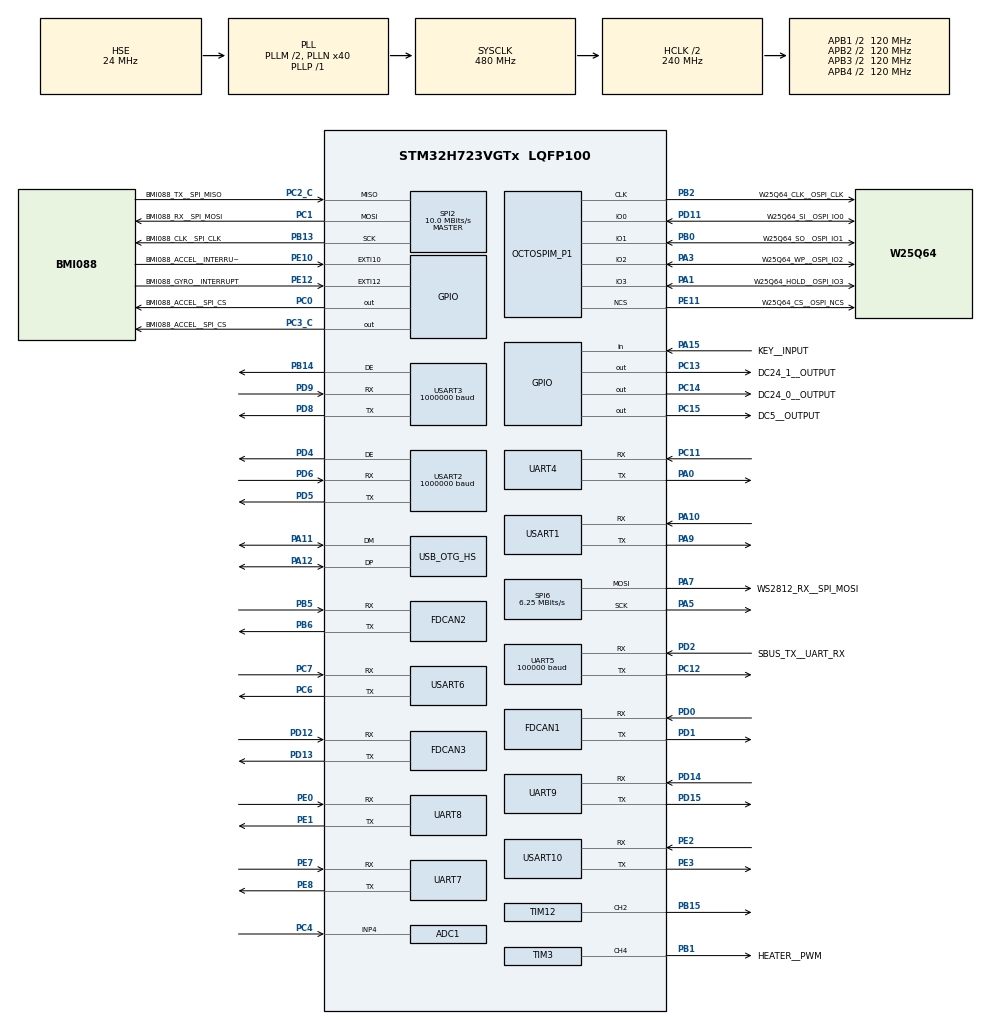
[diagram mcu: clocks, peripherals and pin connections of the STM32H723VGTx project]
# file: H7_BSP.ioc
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ADC1.Channel-0\#ChannelRegularConversion=ADC_CHANNEL_4
ADC1.ConversionDataManagement=ADC_CONVERSIONDATA_DMA_CIRCULAR
ADC1.NbrOfConversionFlag=1
ADC1.OffsetNumber-0\#ChannelRegularConversion=ADC_OFFSET_NONE
ADC1.OffsetSignedSaturation-0\#ChannelRegularConversion=DISABLE
ADC1.Rank-0\#ChannelRegularConversion=1
ADC1.SamplingTime-0\#ChannelRegularConversion=ADC_SAMPLETIME_1CYCLE_5
ADC1.master=1
CORTEX_M7.AccessPermission_Spec=MPU_REGION_FULL_ACCESS
CORTEX_M7.BaseAddress_Spec=0x24000000
CORTEX_M7.CPU_DCache=Enabled
CORTEX_M7.CPU_ICache=Enabled
CORTEX_M7.DisableExec_Spec=MPU_INSTRUCTION_ACCESS_DISABLE
CORTEX_M7.IsShareable_Spec=MPU_ACCESS_SHAREABLE
CORTEX_M7.Size_Spec=MPU_REGION_SIZE_64KB
CORTEX_M7.SubRegionDisable_Spec=0x0
CORTEX_M7.TypeExtField_Spec=MPU_TEX_LEVEL1
CORTEX_M7.default_mode_Activation=1
Dma.ADC1.11.Direction=DMA_PERIPH_TO_MEMORY
Dma.ADC1.11.EventEnable=DISABLE
Dma.ADC1.11.FIFOMode=DMA_FIFOMODE_DISABLE
Dma.ADC1.11.Instance=DMA2_Stream5
Dma.ADC1.11.MemDataAlignment=DMA_MDATAALIGN_HALFWORD
Dma.ADC1.11.MemInc=DMA_MINC_ENABLE
Dma.ADC1.11.Mode=DMA_CIRCULAR
Dma.ADC1.11.PeriphDataAlignment=DMA_PDATAALIGN_HALFWORD
Dma.ADC1.11.PeriphInc=DMA_PINC_DISABLE
Dma.ADC1.11.Polarity=HAL_DMAMUX_REQ_GEN_RISING
Dma.ADC1.11.Priority=DMA_PRIORITY_LOW
Dma.ADC1.11.RequestNumber=1
Dma.ADC1.11.SignalID=NONE
Dma.ADC1.11.SyncEnable=DISABLE
Dma.ADC1.11.SyncPolarity=HAL_DMAMUX_SYNC_NO_EVENT
Dma.ADC1.11.SyncRequestNumber=1
Dma.ADC1.11.SyncSignalID=NONE
Dma.Request0=SPI2_RX
Dma.Request1=SPI2_TX
Dma.Request10=USART10_TX
Dma.Request11=ADC1
Dma.Request12=UART8_RX
Dma.Request13=UART8_TX
Dma.Request14=UART9_RX
Dma.Request15=UART9_TX
Dma.Request2=UART5_RX
Dma.Request3=UART7_RX
Dma.Request4=UART7_TX
Dma.Request5=USART2_RX
Dma.Request6=USART2_TX
Dma.Request7=USART3_RX
Dma.Request8=USART3_TX
Dma.Request9=USART10_RX
Dma.SPI2_RX.0.Direction=DMA_PERIPH_TO_MEMORY
Dma.SPI2_RX.0.EventEnable=DISABLE
Dma.SPI2_RX.0.FIFOMode=DMA_FIFOMODE_DISABLE
Dma.SPI2_RX.0.Instance=DMA1_Stream0
Dma.SPI2_RX.0.MemDataAlignment=DMA_MDATAALIGN_BYTE
Dma.SPI2_RX.0.MemInc=DMA_MINC_ENABLE
Dma.SPI2_RX.0.Mode=DMA_NORMAL
Dma.SPI2_RX.0.PeriphDataAlignment=DMA_PDATAALIGN_BYTE
Dma.SPI2_RX.0.PeriphInc=DMA_PINC_DISABLE
Dma.SPI2_RX.0.Polarity=HAL_DMAMUX_REQ_GEN_RISING
Dma.SPI2_RX.0.Priority=DMA_PRIORITY_VERY_HIGH
Dma.SPI2_RX.0.RequestNumber=1
Dma.SPI2_RX.0.SignalID=NONE
Dma.SPI2_RX.0.SyncEnable=DISABLE
Dma.SPI2_RX.0.SyncPolarity=HAL_DMAMUX_SYNC_NO_EVENT
Dma.SPI2_RX.0.SyncRequestNumber=1
Dma.SPI2_RX.0.SyncSignalID=NONE
Dma.SPI2_TX.1.Direction=DMA_MEMORY_TO_PERIPH
Dma.SPI2_TX.1.EventEnable=DISABLE
Dma.SPI2_TX.1.FIFOMode=DMA_FIFOMODE_DISABLE
Dma.SPI2_TX.1.Instance=DMA1_Stream1
Dma.SPI2_TX.1.MemDataAlignment=DMA_MDATAALIGN_BYTE
Dma.SPI2_TX.1.MemInc=DMA_MINC_ENABLE
Dma.SPI2_TX.1.Mode=DMA_NORMAL
Dma.SPI2_TX.1.PeriphDataAlignment=DMA_PDATAALIGN_BYTE
Dma.SPI2_TX.1.PeriphInc=DMA_PINC_DISABLE
Dma.SPI2_TX.1.Polarity=HAL_DMAMUX_REQ_GEN_RISING
Dma.SPI2_TX.1.Priority=DMA_PRIORITY_MEDIUM
Dma.SPI2_TX.1.RequestNumber=1
Dma.SPI2_TX.1.SignalID=NONE
Dma.SPI2_TX.1.SyncEnable=DISABLE
Dma.SPI2_TX.1.SyncPolarity=HAL_DMAMUX_SYNC_NO_EVENT
Dma.SPI2_TX.1.SyncRequestNumber=1
Dma.SPI2_TX.1.SyncSignalID=NONE
Dma.UART5_RX.2.Direction=DMA_PERIPH_TO_MEMORY
Dma.UART5_RX.2.EventEnable=DISABLE
Dma.UART5_RX.2.FIFOMode=DMA_FIFOMODE_DISABLE
Dma.UART5_RX.2.Instance=DMA2_Stream3
Dma.UART5_RX.2.MemDataAlignment=DMA_MDATAALIGN_BYTE
Dma.UART5_RX.2.MemInc=DMA_MINC_ENABLE
Dma.UART5_RX.2.Mode=DMA_NORMAL
Dma.UART5_RX.2.PeriphDataAlignment=DMA_PDATAALIGN_BYTE
Dma.UART5_RX.2.PeriphInc=DMA_PINC_DISABLE
Dma.UART5_RX.2.Polarity=HAL_DMAMUX_REQ_GEN_RISING
Dma.UART5_RX.2.Priority=DMA_PRIORITY_VERY_HIGH
Dma.UART5_RX.2.RequestNumber=1
Dma.UART5_RX.2.SignalID=NONE
Dma.UART5_RX.2.SyncEnable=DISABLE
Dma.UART5_RX.2.SyncPolarity=HAL_DMAMUX_SYNC_NO_EVENT
Dma.UART5_RX.2.SyncRequestNumber=1
Dma.UART5_RX.2.SyncSignalID=NONE
Dma.UART7_RX.3.Direction=DMA_PERIPH_TO_MEMORY
Dma.UART7_RX.3.EventEnable=DISABLE
Dma.UART7_RX.3.FIFOMode=DMA_FIFOMODE_DISABLE
Dma.UART7_RX.3.Instance=DMA1_Stream2
Dma.UART7_RX.3.MemDataAlignment=DMA_MDATAALIGN_BYTE
Dma.UART7_RX.3.MemInc=DMA_MINC_ENABLE
Dma.UART7_RX.3.Mode=DMA_NORMAL
Dma.UART7_RX.3.PeriphDataAlignment=DMA_PDATAALIGN_BYTE
Dma.UART7_RX.3.PeriphInc=DMA_PINC_DISABLE
Dma.UART7_RX.3.Polarity=HAL_DMAMUX_REQ_GEN_RISING
Dma.UART7_RX.3.Priority=DMA_PRIORITY_MEDIUM
Dma.UART7_RX.3.RequestNumber=1
Dma.UART7_RX.3.SignalID=NONE
Dma.UART7_RX.3.SyncEnable=DISABLE
Dma.UART7_RX.3.SyncPolarity=HAL_DMAMUX_SYNC_NO_EVENT
Dma.UART7_RX.3.SyncRequestNumber=1
Dma.UART7_RX.3.SyncSignalID=NONE
Dma.UART7_TX.4.Direction=DMA_MEMORY_TO_PERIPH
Dma.UART7_TX.4.EventEnable=DISABLE
Dma.UART7_TX.4.FIFOMode=DMA_FIFOMODE_DISABLE
Dma.UART7_TX.4.Instance=DMA1_Stream3
Dma.UART7_TX.4.MemDataAlignment=DMA_MDATAALIGN_BYTE
Dma.UART7_TX.4.MemInc=DMA_MINC_ENABLE
Dma.UART7_TX.4.Mode=DMA_NORMAL
Dma.UART7_TX.4.PeriphDataAlignment=DMA_PDATAALIGN_BYTE
Dma.UART7_TX.4.PeriphInc=DMA_PINC_DISABLE
Dma.UART7_TX.4.Polarity=HAL_DMAMUX_REQ_GEN_RISING
Dma.UART7_TX.4.Priority=DMA_PRIORITY_MEDIUM
Dma.UART7_TX.4.RequestNumber=1
Dma.UART7_TX.4.SignalID=NONE
Dma.UART7_TX.4.SyncEnable=DISABLE
Dma.UART7_TX.4.SyncPolarity=HAL_DMAMUX_SYNC_NO_EVENT
Dma.UART7_TX.4.SyncRequestNumber=1
Dma.UART7_TX.4.SyncSignalID=NONE
Dma.UART8_RX.12.Direction=DMA_PERIPH_TO_MEMORY
Dma.UART8_RX.12.EventEnable=DISABLE
Dma.UART8_RX.12.FIFOMode=DMA_FIFOMODE_DISABLE
Dma.UART8_RX.12.Instance=DMA1_Stream5
Dma.UART8_RX.12.MemDataAlignment=DMA_MDATAALIGN_BYTE
Dma.UART8_RX.12.MemInc=DMA_MINC_ENABLE
Dma.UART8_RX.12.Mode=DMA_NORMAL
Dma.UART8_RX.12.PeriphDataAlignment=DMA_PDATAALIGN_BYTE
Dma.UART8_RX.12.PeriphInc=DMA_PINC_DISABLE
Dma.UART8_RX.12.Polarity=HAL_DMAMUX_REQ_GEN_RISING
Dma.UART8_RX.12.Priority=DMA_PRIORITY_LOW
Dma.UART8_RX.12.RequestNumber=1
Dma.UART8_RX.12.SignalID=NONE
Dma.UART8_RX.12.SyncEnable=DISABLE
Dma.UART8_RX.12.SyncPolarity=HAL_DMAMUX_SYNC_NO_EVENT
Dma.UART8_RX.12.SyncRequestNumber=1
Dma.UART8_RX.12.SyncSignalID=NONE
Dma.UART8_TX.13.Direction=DMA_MEMORY_TO_PERIPH
Dma.UART8_TX.13.EventEnable=DISABLE
Dma.UART8_TX.13.FIFOMode=DMA_FIFOMODE_DISABLE
Dma.UART8_TX.13.Instance=DMA1_Stream6
Dma.UART8_TX.13.MemDataAlignment=DMA_MDATAALIGN_BYTE
Dma.UART8_TX.13.MemInc=DMA_MINC_ENABLE
Dma.UART8_TX.13.Mode=DMA_NORMAL
Dma.UART8_TX.13.PeriphDataAlignment=DMA_PDATAALIGN_BYTE
Dma.UART8_TX.13.PeriphInc=DMA_PINC_DISABLE
Dma.UART8_TX.13.Polarity=HAL_DMAMUX_REQ_GEN_RISING
Dma.UART8_TX.13.Priority=DMA_PRIORITY_LOW
Dma.UART8_TX.13.RequestNumber=1
Dma.UART8_TX.13.SignalID=NONE
Dma.UART8_TX.13.SyncEnable=DISABLE
Dma.UART8_TX.13.SyncPolarity=HAL_DMAMUX_SYNC_NO_EVENT
Dma.UART8_TX.13.SyncRequestNumber=1
Dma.UART8_TX.13.SyncSignalID=NONE
Dma.UART9_RX.14.Direction=DMA_PERIPH_TO_MEMORY
Dma.UART9_RX.14.EventEnable=DISABLE
Dma.UART9_RX.14.FIFOMode=DMA_FIFOMODE_DISABLE
Dma.UART9_RX.14.Instance=DMA2_Stream6
Dma.UART9_RX.14.MemDataAlignment=DMA_MDATAALIGN_BYTE
Dma.UART9_RX.14.MemInc=DMA_MINC_ENABLE
Dma.UART9_RX.14.Mode=DMA_NORMAL
Dma.UART9_RX.14.PeriphDataAlignment=DMA_PDATAALIGN_BYTE
Dma.UART9_RX.14.PeriphInc=DMA_PINC_DISABLE
Dma.UART9_RX.14.Polarity=HAL_DMAMUX_REQ_GEN_RISING
Dma.UART9_RX.14.Priority=DMA_PRIORITY_LOW
Dma.UART9_RX.14.RequestNumber=1
Dma.UART9_RX.14.SignalID=NONE
Dma.UART9_RX.14.SyncEnable=DISABLE
Dma.UART9_RX.14.SyncPolarity=HAL_DMAMUX_SYNC_NO_EVENT
Dma.UART9_RX.14.SyncRequestNumber=1
Dma.UART9_RX.14.SyncSignalID=NONE
Dma.UART9_TX.15.Direction=DMA_MEMORY_TO_PERIPH
Dma.UART9_TX.15.EventEnable=DISABLE
Dma.UART9_TX.15.FIFOMode=DMA_FIFOMODE_DISABLE
Dma.UART9_TX.15.Instance=DMA2_Stream7
Dma.UART9_TX.15.MemDataAlignment=DMA_MDATAALIGN_BYTE
Dma.UART9_TX.15.MemInc=DMA_MINC_ENABLE
Dma.UART9_TX.15.Mode=DMA_NORMAL
Dma.UART9_TX.15.PeriphDataAlignment=DMA_PDATAALIGN_BYTE
Dma.UART9_TX.15.PeriphInc=DMA_PINC_DISABLE
Dma.UART9_TX.15.Polarity=HAL_DMAMUX_REQ_GEN_RISING
Dma.UART9_TX.15.Priority=DMA_PRIORITY_LOW
Dma.UART9_TX.15.RequestNumber=1
Dma.UART9_TX.15.SignalID=NONE
Dma.UART9_TX.15.SyncEnable=DISABLE
Dma.UART9_TX.15.SyncPolarity=HAL_DMAMUX_SYNC_NO_EVENT
Dma.UART9_TX.15.SyncRequestNumber=1
Dma.UART9_TX.15.SyncSignalID=NONE
Dma.USART10_RX.9.Direction=DMA_PERIPH_TO_MEMORY
Dma.USART10_RX.9.EventEnable=DISABLE
Dma.USART10_RX.9.FIFOMode=DMA_FIFOMODE_DISABLE
Dma.USART10_RX.9.Instance=DMA2_Stream2
Dma.USART10_RX.9.MemDataAlignment=DMA_MDATAALIGN_BYTE
Dma.USART10_RX.9.MemInc=DMA_MINC_ENABLE
Dma.USART10_RX.9.Mode=DMA_NORMAL
Dma.USART10_RX.9.PeriphDataAlignment=DMA_PDATAALIGN_BYTE
Dma.USART10_RX.9.PeriphInc=DMA_PINC_DISABLE
Dma.USART10_RX.9.Polarity=HAL_DMAMUX_REQ_GEN_RISING
Dma.USART10_RX.9.Priority=DMA_PRIORITY_VERY_HIGH
Dma.USART10_RX.9.RequestNumber=1
Dma.USART10_RX.9.SignalID=NONE
Dma.USART10_RX.9.SyncEnable=DISABLE
Dma.USART10_RX.9.SyncPolarity=HAL_DMAMUX_SYNC_NO_EVENT
Dma.USART10_RX.9.SyncRequestNumber=1
Dma.USART10_RX.9.SyncSignalID=NONE
Dma.USART10_TX.10.Direction=DMA_MEMORY_TO_PERIPH
Dma.USART10_TX.10.EventEnable=DISABLE
Dma.USART10_TX.10.FIFOMode=DMA_FIFOMODE_DISABLE
Dma.USART10_TX.10.Instance=DMA2_Stream4
Dma.USART10_TX.10.MemDataAlignment=DMA_MDATAALIGN_BYTE
Dma.USART10_TX.10.MemInc=DMA_MINC_ENABLE
Dma.USART10_TX.10.Mode=DMA_NORMAL
Dma.USART10_TX.10.PeriphDataAlignment=DMA_PDATAALIGN_BYTE
Dma.USART10_TX.10.PeriphInc=DMA_PINC_DISABLE
Dma.USART10_TX.10.Polarity=HAL_DMAMUX_REQ_GEN_RISING
Dma.USART10_TX.10.Priority=DMA_PRIORITY_VERY_HIGH
Dma.USART10_TX.10.RequestNumber=1
Dma.USART10_TX.10.SignalID=NONE
Dma.USART10_TX.10.SyncEnable=DISABLE
Dma.USART10_TX.10.SyncPolarity=HAL_DMAMUX_SYNC_NO_EVENT
Dma.USART10_TX.10.SyncRequestNumber=1
Dma.USART10_TX.10.SyncSignalID=NONE
Dma.USART2_RX.5.Direction=DMA_PERIPH_TO_MEMORY
Dma.USART2_RX.5.EventEnable=DISABLE
Dma.USART2_RX.5.FIFOMode=DMA_FIFOMODE_DISABLE
Dma.USART2_RX.5.Instance=DMA1_Stream4
Dma.USART2_RX.5.MemDataAlignment=DMA_MDATAALIGN_BYTE
Dma.USART2_RX.5.MemInc=DMA_MINC_ENABLE
Dma.USART2_RX.5.Mode=DMA_NORMAL
Dma.USART2_RX.5.PeriphDataAlignment=DMA_PDATAALIGN_BYTE
Dma.USART2_RX.5.PeriphInc=DMA_PINC_DISABLE
Dma.USART2_RX.5.Polarity=HAL_DMAMUX_REQ_GEN_RISING
Dma.USART2_RX.5.Priority=DMA_PRIORITY_MEDIUM
Dma.USART2_RX.5.RequestNumber=1
Dma.USART2_RX.5.SignalID=NONE
Dma.USART2_RX.5.SyncEnable=DISABLE
Dma.USART2_RX.5.SyncPolarity=HAL_DMAMUX_SYNC_NO_EVENT
Dma.USART2_RX.5.SyncRequestNumber=1
Dma.USART2_RX.5.SyncSignalID=NONE
Dma.USART2_TX.6.Direction=DMA_MEMORY_TO_PERIPH
Dma.USART2_TX.6.EventEnable=DISABLE
Dma.USART2_TX.6.FIFOMode=DMA_FIFOMODE_DISABLE
Dma.USART2_TX.6.Instance=DMA1_Stream7
Dma.USART2_TX.6.MemDataAlignment=DMA_MDATAALIGN_BYTE
Dma.USART2_TX.6.MemInc=DMA_MINC_ENABLE
Dma.USART2_TX.6.Mode=DMA_NORMAL
Dma.USART2_TX.6.PeriphDataAlignment=DMA_PDATAALIGN_BYTE
Dma.USART2_TX.6.PeriphInc=DMA_PINC_DISABLE
Dma.USART2_TX.6.Polarity=HAL_DMAMUX_REQ_GEN_RISING
Dma.USART2_TX.6.Priority=DMA_PRIORITY_MEDIUM
Dma.USART2_TX.6.RequestNumber=1
Dma.USART2_TX.6.SignalID=NONE
Dma.USART2_TX.6.SyncEnable=DISABLE
Dma.USART2_TX.6.SyncPolarity=HAL_DMAMUX_SYNC_NO_EVENT
Dma.USART2_TX.6.SyncRequestNumber=1
Dma.USART2_TX.6.SyncSignalID=NONE
Dma.USART3_RX.7.Direction=DMA_PERIPH_TO_MEMORY
Dma.USART3_RX.7.EventEnable=DISABLE
Dma.USART3_RX.7.FIFOMode=DMA_FIFOMODE_DISABLE
Dma.USART3_RX.7.Instance=DMA2_Stream0
Dma.USART3_RX.7.MemDataAlignment=DMA_MDATAALIGN_BYTE
Dma.USART3_RX.7.MemInc=DMA_MINC_ENABLE
Dma.USART3_RX.7.Mode=DMA_NORMAL
Dma.USART3_RX.7.PeriphDataAlignment=DMA_PDATAALIGN_BYTE
Dma.USART3_RX.7.PeriphInc=DMA_PINC_DISABLE
Dma.USART3_RX.7.Polarity=HAL_DMAMUX_REQ_GEN_RISING
Dma.USART3_RX.7.Priority=DMA_PRIORITY_MEDIUM
Dma.USART3_RX.7.RequestNumber=1
Dma.USART3_RX.7.SignalID=NONE
Dma.USART3_RX.7.SyncEnable=DISABLE
Dma.USART3_RX.7.SyncPolarity=HAL_DMAMUX_SYNC_NO_EVENT
Dma.USART3_RX.7.SyncRequestNumber=1
Dma.USART3_RX.7.SyncSignalID=NONE
Dma.USART3_TX.8.Direction=DMA_MEMORY_TO_PERIPH
Dma.USART3_TX.8.EventEnable=DISABLE
Dma.USART3_TX.8.FIFOMode=DMA_FIFOMODE_DISABLE
Dma.USART3_TX.8.Instance=DMA2_Stream1
Dma.USART3_TX.8.MemDataAlignment=DMA_MDATAALIGN_BYTE
Dma.USART3_TX.8.MemInc=DMA_MINC_ENABLE
Dma.USART3_TX.8.Mode=DMA_NORMAL
Dma.USART3_TX.8.PeriphDataAlignment=DMA_PDATAALIGN_BYTE
Dma.USART3_TX.8.PeriphInc=DMA_PINC_DISABLE
Dma.USART3_TX.8.Polarity=HAL_DMAMUX_REQ_GEN_RISING
Dma.USART3_TX.8.Priority=DMA_PRIORITY_MEDIUM
Dma.USART3_TX.8.RequestNumber=1
Dma.USART3_TX.8.SignalID=NONE
Dma.USART3_TX.8.SyncEnable=DISABLE
Dma.USART3_TX.8.SyncPolarity=HAL_DMAMUX_SYNC_NO_EVENT
Dma.USART3_TX.8.SyncRequestNumber=1
Dma.USART3_TX.8.SyncSignalID=NONE
FDCAN1.AutoRetransmission=ENABLE
FDCAN1.CalculateBaudRateNominal=1000000
FDCAN1.CalculateTimeBitNominal=1000
FDCAN1.CalculateTimeQuantumNominal=25.0
FDCAN1.DataPrescaler=3
FDCAN1.DataSyncJumpWidth=10
FDCAN1.DataTimeSeg1=29
FDCAN1.DataTimeSeg2=10
FDCAN1.NominalPrescaler=3
FDCAN1.NominalSyncJumpWidth=10
FDCAN1.NominalTimeSeg1=29
FDCAN1.NominalTimeSeg2=10
FDCAN1.ProtocolException=DISABLE
FDCAN1.RxFifo0ElmtsNbr=16
FDCAN1.StdFiltersNbr=1
FDCAN1.TxFifoQueueElmtsNbr=8
FDCAN2.AutoRetransmission=ENABLE
FDCAN2.CalculateBaudRateNominal=1000000
FDCAN2.CalculateTimeBitNominal=1000
FDCAN2.CalculateTimeQuantumNominal=25.0
FDCAN2.DataPrescaler=3
FDCAN2.DataSyncJumpWidth=10
FDCAN2.DataTimeSeg1=29
FDCAN2.DataTimeSeg2=10
FDCAN2.MessageRAMOffset=853
FDCAN2.NominalPrescaler=3
FDCAN2.NominalSyncJumpWidth=10
FDCAN2.NominalTimeSeg1=29
FDCAN2.NominalTimeSeg2=10
FDCAN2.RxFifo0ElmtsNbr=16
FDCAN2.StdFiltersNbr=1
FDCAN2.TxFifoQueueElmtsNbr=8
FDCAN3.AutoRetransmission=ENABLE
FDCAN3.CalculateBaudRateNominal=1000000
FDCAN3.CalculateTimeBitNominal=1000
FDCAN3.CalculateTimeQuantumNominal=25.0
FDCAN3.DataPrescaler=3
FDCAN3.DataSyncJumpWidth=10
FDCAN3.DataTimeSeg1=29
FDCAN3.DataTimeSeg2=10
FDCAN3.MessageRAMOffset=1706
FDCAN3.NominalPrescaler=3
FDCAN3.NominalSyncJumpWidth=10
FDCAN3.NominalTimeSeg1=29
FDCAN3.NominalTimeSeg2=10
FDCAN3.RxFifo0ElmtsNbr=16
FDCAN3.StdFiltersNbr=1
FDCAN3.TxFifoQueueElmtsNbr=8
FREERTOS.HEAP_NUMBER=5
FREERTOS.Tasks01=TransportTask,24,2048,Transport_Task,As weak,NULL,Dynamic,NULL,NULL;InsTask,8,256,Ins_Task,As weak,NULL,Dynamic,NULL,NULL;CanTxTask,40,1024,Can_Tx_Task,As weak,NULL,Dynamic,NULL,NULL;StatusTask,8,512,Status_Task,As weak,NULL,Dynamic,NULL,NULL;TIM_1ms_Task,8,1024,TIM1msTask,As weak,NULL,Dynamic,NULL,NULL;BMI088Task,42,2048,BMI088_Task,As weak,NULL,Dynamic,NULL,NULL;ControlTask,41,2048,Control_Task,As weak,NULL,Dynamic,NULL,NULL;StorageTask,8,1024,Storage_Task,As weak,NULL,Dynamic,NULL,NULL
FREERTOS.configENABLE_FPU=1
FREERTOS.configGENERATE_RUN_TIME_STATS=1
FREERTOS.configMAX_TASK_NAME_LEN=32
FREERTOS.configMINIMAL_STACK_SIZE=1024
FREERTOS.configRECORD_STACK_HIGH_ADDRESS=1
FREERTOS.configTIMER_TASK_STACK_DEPTH=2048
FREERTOS.configTOTAL_HEAP_SIZE=65536
Mcu.Family=STM32H7
Mcu.Name=STM32H723VGTx
Mcu.Package=LQFP100
Mdma.MDMA_Channel0.OCTOSPI2_FIFO_TH.0.BlockCount=0
Mdma.MDMA_Channel0.OCTOSPI2_FIFO_TH.0.BlockDataLength=0
Mdma.MDMA_Channel0.OCTOSPI2_FIFO_TH.0.BufferTransferLength=1
Mdma.MDMA_Channel0.OCTOSPI2_FIFO_TH.0.CircularMode=MDMA_LINEAR_LIST
Mdma.MDMA_Channel0.OCTOSPI2_FIFO_TH.0.DataAlignment=MDMA_DATAALIGN_PACKENABLE
Mdma.MDMA_Channel0.OCTOSPI2_FIFO_TH.0.DestBlockAddressOffset=0
Mdma.MDMA_Channel0.OCTOSPI2_FIFO_TH.0.DestBurst=MDMA_DEST_BURST_SINGLE
Mdma.MDMA_Channel0.OCTOSPI2_FIFO_TH.0.DestDataSize=MDMA_DEST_DATASIZE_BYTE
Mdma.MDMA_Channel0.OCTOSPI2_FIFO_TH.0.DestinationInc=MDMA_DEST_INC_BYTE
Mdma.MDMA_Channel0.OCTOSPI2_FIFO_TH.0.DstAddress=0
Mdma.MDMA_Channel0.OCTOSPI2_FIFO_TH.0.Endianness=MDMA_LITTLE_ENDIANNESS_PRESERVE
Mdma.MDMA_Channel0.OCTOSPI2_FIFO_TH.0.Instance=MDMA_Channel0
Mdma.MDMA_Channel0.OCTOSPI2_FIFO_TH.0.MaskAddress=0
Mdma.MDMA_Channel0.OCTOSPI2_FIFO_TH.0.MaskData=0
Mdma.MDMA_Channel0.OCTOSPI2_FIFO_TH.0.Priority=MDMA_PRIORITY_LOW
Mdma.MDMA_Channel0.OCTOSPI2_FIFO_TH.0.Rank=First
Mdma.MDMA_Channel0.OCTOSPI2_FIFO_TH.0.SourceBlockAddressOffset=0
Mdma.MDMA_Channel0.OCTOSPI2_FIFO_TH.0.SourceBurst=MDMA_SOURCE_BURST_SINGLE
Mdma.MDMA_Channel0.OCTOSPI2_FIFO_TH.0.SourceDataSize=MDMA_SRC_DATASIZE_BYTE
Mdma.MDMA_Channel0.OCTOSPI2_FIFO_TH.0.SourceInc=MDMA_SRC_INC_BYTE
Mdma.MDMA_Channel0.OCTOSPI2_FIFO_TH.0.SrcAddress=0
Mdma.MDMA_Channel0.OCTOSPI2_FIFO_TH.0.TransferTriggerMode=MDMA_BUFFER_TRANSFER
Mdma.MDMA_Channel0.Request0=OCTOSPI2_FIFO_TH
Mdma.MDMA_Channel0.RequestsNb=1
Mdma.RequestSet0=MDMA_Channel0
Mdma.RequestSetsNb=1
NVIC.DMA1_Stream0_IRQn=true\:6\:0\:false\:false\:true\:true\:false\:true\:true
NVIC.DMA1_Stream1_IRQn=true\:6\:0\:false\:false\:true\:true\:false\:true\:true
NVIC.DMA1_Stream2_IRQn=true\:9\:0\:false\:false\:true\:true\:false\:true\:true
NVIC.DMA1_Stream3_IRQn=true\:9\:0\:false\:false\:true\:true\:false\:true\:true
NVIC.DMA1_Stream4_IRQn=true\:9\:0\:false\:false\:true\:true\:false\:true\:true
NVIC.DMA1_Stream5_IRQn=true\:9\:0\:false\:false\:true\:true\:false\:true\:true
NVIC.DMA1_Stream6_IRQn=true\:9\:0\:false\:false\:true\:true\:false\:true\:true
NVIC.DMA1_Stream7_IRQn=true\:9\:0\:false\:false\:true\:true\:false\:true\:true
NVIC.DMA2_Stream0_IRQn=true\:9\:0\:false\:false\:true\:true\:false\:true\:true
NVIC.DMA2_Stream1_IRQn=true\:9\:0\:false\:false\:true\:true\:false\:true\:true
NVIC.DMA2_Stream2_IRQn=true\:9\:0\:false\:false\:true\:true\:false\:true\:true
NVIC.DMA2_Stream3_IRQn=true\:9\:0\:true\:false\:true\:false\:false\:true\:true
NVIC.DMA2_Stream4_IRQn=true\:9\:0\:false\:false\:true\:true\:false\:true\:true
NVIC.DMA2_Stream5_IRQn=true\:10\:0\:false\:false\:true\:true\:false\:true\:true
NVIC.DMA2_Stream6_IRQn=true\:9\:0\:false\:false\:true\:true\:false\:true\:true
NVIC.DMA2_Stream7_IRQn=true\:9\:0\:false\:false\:true\:true\:false\:true\:true
NVIC.EXTI15_10_IRQn=true\:6\:0\:false\:false\:true\:true\:true\:true\:true
NVIC.FDCAN1_IT0_IRQn=true\:7\:0\:false\:false\:true\:true\:true\:true\:true
NVIC.FDCAN1_IT1_IRQn=true\:7\:0\:false\:false\:true\:true\:true\:true\:true
NVIC.FDCAN2_IT0_IRQn=true\:7\:0\:false\:false\:true\:true\:true\:true\:true
NVIC.FDCAN2_IT1_IRQn=true\:7\:0\:false\:false\:true\:true\:true\:true\:true
NVIC.FDCAN3_IT0_IRQn=true\:7\:0\:false\:false\:true\:true\:true\:true\:true
NVIC.FDCAN3_IT1_IRQn=true\:7\:0\:false\:false\:true\:true\:true\:true\:true
NVIC.MDMA_IRQn=true\:10\:0\:true\:false\:true\:false\:false\:true\:true
NVIC.OCTOSPI2_IRQn=true\:10\:0\:false\:false\:true\:true\:true\:true\:true
NVIC.OTG_HS_IRQn=true\:11\:0\:false\:false\:true\:true\:false\:true\:true
NVIC.PriorityGroup=NVIC_PRIORITYGROUP_4
NVIC.SPI2_IRQn=true\:6\:0\:false\:false\:true\:true\:true\:true\:true
NVIC.TIM2_IRQn=true\:15\:0\:false\:false\:true\:false\:false\:true\:true
NVIC.TIM4_IRQn=true\:5\:0\:false\:false\:true\:true\:true\:true\:true
NVIC.TIM5_IRQn=true\:5\:0\:false\:false\:true\:true\:true\:true\:true
NVIC.TIM7_IRQn=true\:8\:0\:false\:false\:true\:true\:true\:true\:true
NVIC.TIM8_UP_TIM13_IRQn=true\:8\:0\:false\:false\:true\:true\:true\:true\:true
NVIC.TimeBase=TIM2_IRQn
NVIC.TimeBaseIP=TIM2
NVIC.UART5_IRQn=true\:9\:0\:false\:false\:true\:true\:true\:true\:true
NVIC.UART7_IRQn=true\:9\:0\:false\:false\:true\:true\:false\:true\:true
NVIC.USART10_IRQn=true\:9\:0\:false\:false\:true\:true\:true\:true\:true
NVIC.USART1_IRQn=true\:9\:0\:false\:false\:true\:true\:true\:true\:true
NVIC.USART2_IRQn=true\:9\:0\:false\:false\:true\:true\:false\:true\:true
NVIC.USART3_IRQn=true\:9\:0\:false\:false\:true\:true\:false\:true\:true
NVIC.USART6_IRQn=true\:9\:0\:false\:false\:true\:true\:true\:true\:true
OCTOSPI2.ClockMode=HAL_OSPI_CLOCK_MODE_3
OCTOSPI2.ClockPrescaler=2
OCTOSPI2.DeviceSize=23
OCTOSPI2.SampleShifting=HAL_OSPI_SAMPLE_SHIFTING_HALFCYCLE
PA0.Mode=Asynchronous
PA0.Signal=UART4_TX
PA1.GPIO_Label=W25Q64_HOLD__OSPI_IO3
PA1.Mode=OCTOSPI2_IOL_Port1L
PA1.Signal=OCTOSPIM_P1_IO3
PA10.Mode=Asynchronous
PA10.Signal=USART1_RX
PA11.Mode=Device_Only_FS
PA11.Signal=USB_OTG_HS_DM
PA12.Mode=Device_Only_FS
PA12.Signal=USB_OTG_HS_DP
PA13(JTMS/SWDIO).Mode=Serial_Wire
PA13(JTMS/SWDIO).Signal=DEBUG_JTMS-SWDIO
PA14(JTCK/SWCLK).Mode=Serial_Wire
PA14(JTCK/SWCLK).Signal=DEBUG_JTCK-SWCLK
PA15(JTDI).GPIO_Label=KEY__INPUT
PA15(JTDI).Signal=GPIO_Input
PA3.GPIO_Label=W25Q64_WP__OSPI_IO2
PA3.Mode=OCTOSPI2_IOL_Port1L
PA3.Signal=OCTOSPIM_P1_IO2
PA5.GPIO_Speed=GPIO_SPEED_FREQ_VERY_HIGH
PA5.Mode=TX_Only_Simplex_Unidirect_Master
PA5.Signal=SPI6_SCK
PA7.GPIO_Label=WS2812_RX__SPI_MOSI
PA7.GPIO_Speed=GPIO_SPEED_FREQ_VERY_HIGH
PA7.Mode=TX_Only_Simplex_Unidirect_Master
PA7.Signal=SPI6_MOSI
PA9.Mode=Asynchronous
PA9.Signal=USART1_TX
PB0.GPIO_Label=W25Q64_SO__OSPI_IO1
PB0.Mode=OCTOSPI2_IOL_Port1L
PB0.Signal=OCTOSPIM_P1_IO1
PB1.GPIO_Label=HEATER__PWM
PB1.Signal=S_TIM3_CH4
PB13.GPIO_Label=BMI088_CLK__SPI_CLK
PB13.GPIO_Speed=GPIO_SPEED_FREQ_VERY_HIGH
PB13.Mode=Full_Duplex_Master
PB13.Signal=SPI2_SCK
PB14.Mode=Hardware Flow Control (RS485)
PB14.Signal=USART3_DE
PB15.Signal=S_TIM12_CH2
PB2.GPIO_Label=W25Q64_CLK__OSPI_CLK
PB2.Mode=O2_P1_CLK
PB2.Signal=OCTOSPIM_P1_CLK
PB5.Mode=FDCAN_Activate
PB5.Signal=FDCAN2_RX
PB6.Mode=FDCAN_Activate
PB6.Signal=FDCAN2_TX
PC0.GPIO_Label=BMI088_ACCEL__SPI_CS
PC0.GPIO_Speed=GPIO_SPEED_FREQ_VERY_HIGH
PC0.PinState=GPIO_PIN_SET
PC0.Signal=GPIO_Output
PC1.GPIO_Label=BMI088_RX__SPI_MOSI
PC1.GPIO_Speed=GPIO_SPEED_FREQ_VERY_HIGH
PC1.Mode=Full_Duplex_Master
PC1.Signal=SPI2_MOSI
PC11.Mode=Asynchronous
PC11.Signal=UART4_RX
PC12.Mode=Asynchronous
PC12.Signal=UART5_TX
PC13.GPIO_Label=DC24_1__OUTPUT
PC13.Signal=GPIO_Output
PC14-OSC32_IN.GPIO_Label=DC24_0__OUTPUT
PC14-OSC32_IN.Signal=GPIO_Output
PC15-OSC32_OUT.GPIO_Label=DC5__OUTPUT
PC15-OSC32_OUT.Signal=GPIO_Output
PC2_C.GPIO_Label=BMI088_TX__SPI_MISO
PC2_C.GPIO_Speed=GPIO_SPEED_FREQ_VERY_HIGH
PC2_C.Mode=Full_Duplex_Master
PC2_C.Signal=SPI2_MISO
PC3_C.GPIO_Label=BMI088_ACCEL__SPI_CS
PC3_C.GPIO_Speed=GPIO_SPEED_FREQ_VERY_HIGH
PC3_C.PinState=GPIO_PIN_SET
PC3_C.Signal=GPIO_Output
PC4.Signal=ADCx_INP4
PC6.Mode=Asynchronous
PC6.Signal=USART6_TX
PC7.Mode=Asynchronous
PC7.Signal=USART6_RX
PD0.Mode=FDCAN_Activate
PD0.Signal=FDCAN1_RX
PD1.Mode=FDCAN_Activate
PD1.Signal=FDCAN1_TX
PD11.GPIO_Label=W25Q64_SI__OSPI_IO0
PD11.Mode=OCTOSPI2_IOL_Port1L
PD11.Signal=OCTOSPIM_P1_IO0
PD12.Mode=FDCAN_Activate
PD12.Signal=FDCAN3_RX
PD13.Mode=FDCAN_Activate
PD13.Signal=FDCAN3_TX
PD14.Mode=Asynchronous
PD14.Signal=UART9_RX
PD15.Mode=Asynchronous
PD15.Signal=UART9_TX
PD2.GPIO_Label=SBUS_TX__UART_RX
PD2.GPIO_Speed=GPIO_SPEED_FREQ_VERY_HIGH
PD2.Mode=Asynchronous
PD2.Signal=UART5_RX
PD4.Mode=Hardware Flow Control (RS485)
PD4.Signal=USART2_DE
PD5.Mode=Asynchronous
PD5.Signal=USART2_TX
PD6.Mode=Asynchronous
PD6.Signal=USART2_RX
PD8.Mode=Asynchronous
PD8.Signal=USART3_TX
PD9.Mode=Asynchronous
PD9.Signal=USART3_RX
PE0.Mode=Asynchronous
PE0.Signal=UART8_RX
PE1.Mode=Asynchronous
PE1.Signal=UART8_TX
PE10.GPIO_Label=BMI088_ACCEL__INTERRUPT
PE10.Signal=GPXTI10
PE11.GPIO_Label=W25Q64_CS__OSPI_NCS
PE11.Mode=OCTOSPI2_Port1_NCS
PE11.Signal=OCTOSPIM_P1_NCS
PE12.GPIO_Label=BMI088_GYRO__INTERRUPT
PE12.GPIO_ModeDefaultEXTI=GPIO_MODE_IT_RISING
PE12.Signal=GPXTI12
PE2.Mode=Asynchronous
PE2.Signal=USART10_RX
PE3.Mode=Asynchronous
PE3.Signal=USART10_TX
PE7.Mode=Asynchronous
PE7.Signal=UART7_RX
PE8.Mode=Asynchronous
PE8.Signal=UART7_TX
PH0-OSC_IN.Mode=HSE-External-Oscillator
PH0-OSC_IN.Signal=RCC_OSC_IN
PH1-OSC_OUT.Mode=HSE-External-Oscillator
PH1-OSC_OUT.Signal=RCC_OSC_OUT
ProjectManager.HeapSize=0x1000
ProjectManager.StackSize=0x1000
ProjectManager.TargetToolchain=CMake
RCC.ADCFreq_Value=100000000
RCC.APB1Freq_Value=120000000
RCC.APB2Freq_Value=120000000
RCC.APB3Freq_Value=120000000
RCC.APB4Freq_Value=120000000
RCC.CKPERSourceSelection=RCC_CLKPSOURCE_HSE
RCC.CortexFreq_Value=480000000
RCC.D1PPRE=RCC_APB3_DIV2
RCC.D2PPRE1=RCC_APB1_DIV2
RCC.D2PPRE2=RCC_APB2_DIV2
RCC.D3PPRE=RCC_APB4_DIV2
RCC.DIVM1=2
RCC.DIVM2=12
RCC.DIVM3=24
RCC.DIVN1=40
RCC.DIVN2=100
RCC.DIVN3=160
RCC.DIVP1=1
RCC.DIVQ1=4
RCC.DIVQ2=4
RCC.HCLKFreq_Value=240000000
RCC.HPRE=RCC_HCLK_DIV2
RCC.HSE_VALUE=24000000
RCC.PLLFRACN=0
RCC.PLLSourceVirtual=RCC_PLLSOURCE_HSE
RCC.SPI123CLockSelection=RCC_SPI123CLKSOURCE_PLL3
RCC.SPI6CLockSelection=RCC_SPI6CLKSOURCE_PLL2
RCC.SYSCLKFreq_VALUE=480000000
RCC.SYSCLKSource=RCC_SYSCLKSOURCE_PLLCLK
RCC.USBCLockSelection=RCC_USBCLKSOURCE_HSI48
RCC.USBFreq_Value=48000000
SH.ADCx_INP4.0=ADC1_INP4,IN4-Single-Ended
SH.S_TIM12_CH2.0=TIM12_CH2,PWM Generation2 CH2
SH.S_TIM3_CH4.0=TIM3_CH4,PWM Generation4 CH4
SPI2.BaudRatePrescaler=SPI_BAUDRATEPRESCALER_8
SPI2.CLKPhase=SPI_PHASE_2EDGE
SPI2.CLKPolarity=SPI_POLARITY_HIGH
SPI2.CalculateBaudRate=10.0 MBits/s
SPI2.DataSize=SPI_DATASIZE_8BIT
SPI2.Direction=SPI_DIRECTION_2LINES
SPI2.Mode=SPI_MODE_MASTER
SPI2.VirtualType=VM_MASTER
SPI6.BaudRatePrescaler=SPI_BAUDRATEPRESCALER_8
SPI6.CalculateBaudRate=6.25 MBits/s
SPI6.DataSize=SPI_DATASIZE_8BIT
SPI6.Direction=SPI_DIRECTION_2LINES_TXONLY
SPI6.Mode=SPI_MODE_MASTER
SPI6.VirtualType=VM_MASTER
STMicroelectronics.X-CUBE-ALGOBUILD.1.4.0.LibraryCcDSPOoLibraryJjDSPOoLibrary=true
TIM12.Channel-PWM\ Generation2\ CH2=TIM_CHANNEL_2
TIM12.Prescaler=240-1
TIM3.AutoReloadPreload=TIM_AUTORELOAD_PRELOAD_ENABLE
TIM3.Channel-PWM\ Generation4\ CH4=TIM_CHANNEL_4
TIM3.Period=20000
TIM3.Prescaler=80-1
TIM4.Period=1000-1
TIM4.Prescaler=240-1
TIM5.Period=3600000000-1
TIM5.Prescaler=240-1
TIM7.Prescaler=240-1
TIM8.Period=125-1
UART5.BaudRate=100000
UART5.Mode=MODE_RX
UART5.Parity=PARITY_EVEN
UART5.StopBits=UART_STOPBITS_2
UART5.WordLength=WORDLENGTH_9B
USART1.VirtualMode-Asynchronous=VM_ASYNC
USART10.VirtualMode=VM_ASYNC
USART2.BaudRate=1000000
USART2.OverSampling=UART_OVERSAMPLING_16
USART2.VirtualMode-Asynchronous=VM_ASYNC
USART2.VirtualMode-Hardware\ Flow\ Control\ (RS485)=VM_ASYNC
USART3.BaudRate=1000000
USART3.VirtualMode-Asynchronous=VM_ASYNC
USART3.VirtualMode-Hardware\ Flow\ Control\ (RS485)=VM_ASYNC
USART6.VirtualMode=VM_ASYNC
USB_DEVICE.CLASS_NAME_HS=CDC
USB_DEVICE.MANUFACTURER_STRING=Echo
USB_DEVICE.PRODUCT_STRING_CDC_HS=Echo
USB_DEVICE.VirtualMode=Cdc
USB_DEVICE.VirtualModeHS=Cdc_HS
USB_OTG_HS.VirtualMode-Device_Only_FS=Device_Only_FS
VP_FREERTOS_VS_CMSIS_V2.Mode=CMSIS_V2
VP_MEMORYMAP_VS_MEMORYMAP.Mode=CurAppReg
VP_OCTOSPI2_VS_octo.Mode=octo_mode
VP_STMicroelectronics.X-CUBE-ALGOBUILD_VS_DSPOoLibraryJjLibrary_1.4.0_1.4.0.Mode=DSPOoLibraryJjLibrary
VP_SYS_VS_tim2.Mode=TIM2
VP_TIM4_VS_ClockSourceINT.Mode=Internal
VP_TIM5_VS_ClockSourceINT.Mode=Internal
VP_TIM7_VS_ClockSourceINT.Mode=Enable_Timer
VP_TIM8_VS_ClockSourceINT.Mode=Internal
VP_USB_DEVICE_VS_USB_DEVICE_CDC_HS.Mode=CDC_HS
board=custom

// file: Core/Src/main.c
/* USER CODE BEGIN Header */
/**
  ******************************************************************************
  * @file           : main.c
  * @brief          : Main program body
  ******************************************************************************
  * @attention
  *
  * Copyright (c) 2026 STMicroelectronics.
  * All rights reserved.
  *
  * This software is licensed under terms that can be found in the LICENSE file
  * in the root directory of this software component.
  * If no LICENSE file comes with this software, it is provided AS-IS.
  *
  ******************************************************************************
  */
/* USER CODE END Header */
#include "main.h"
#include "cmsis_os.h"
#include "adc.h"
#include "dma.h"
#include "fdcan.h"
#include "mdma.h"
#include "octospi.h"
#include "spi.h"
#include "tim.h"
#include "usart.h"
#include "usb_device.h"
#include "gpio.h"

/* USER CODE BEGIN Includes */
#include "SEGGER_SYSVIEW.h"
#include "Init.h"

/* Forward declaration if header is incomplete */

/* USER CODE END Includes */

void SystemClock_Config(void);
void PeriphCommonClock_Config(void);
static void MPU_Config(void);
void MX_FREERTOS_Init(void);

int main(void)
{

  /* MPU Configuration--------------------------------------------------------*/
  MPU_Config();

  /* Enable the CPU Cache */

  /* Enable I-Cache---------------------------------------------------------*/
  SCB_EnableICache();

  /* Enable D-Cache---------------------------------------------------------*/
  SCB_EnableDCache();

  /* MCU Configuration--------------------------------------------------------*/

  /* Reset of all peripherals, Initializes the Flash interface and the Systick. */
  HAL_Init();

  /* Configure the system clock */
  SystemClock_Config();

  /* Configure the peripherals common clocks */
  PeriphCommonClock_Config();

  /* Initialize all configured peripherals */
  MX_GPIO_Init();
  MX_DMA_Init();
  MX_MDMA_Init();
  MX_FDCAN1_Init();
  MX_FDCAN2_Init();
  MX_FDCAN3_Init();
  MX_SPI2_Init();
  MX_OCTOSPI2_Init();
  MX_SPI6_Init();
  MX_UART5_Init();
  MX_UART7_Init();
  MX_USART1_UART_Init();
  MX_USART2_UART_Init();
  MX_USART3_UART_Init();
  MX_USART10_UART_Init();
  MX_TIM3_Init();
  MX_TIM4_Init();
  MX_TIM5_Init();
  MX_TIM7_Init();
  MX_TIM8_Init();
  MX_TIM12_Init();
  MX_ADC1_Init();
  MX_USART6_UART_Init();
  MX_UART4_Init();
  MX_UART8_Init();
  MX_UART9_Init();
  /* USER CODE BEGIN 2 */
  System_Init();

  /* USER CODE END 2 */

  /* Init scheduler */
  osKernelInitialize();  /* Call init function for freertos objects (in cmsis_os2.c) */
  MX_FREERTOS_Init();

  /* Start scheduler */
  osKernelStart();

  /* We should never get here as control is now taken by the scheduler */

  /* Infinite loop */
  while (1)
  {

  }
}

void SystemClock_Config(void)
{
  RCC_OscInitTypeDef RCC_OscInitStruct = {0};
  RCC_ClkInitTypeDef RCC_ClkInitStruct = {0};

  /** Supply configuration update enable
  */
  HAL_PWREx_ConfigSupply(PWR_LDO_SUPPLY);

  /** Configure the main internal regulator output voltage
  */
  __HAL_PWR_VOLTAGESCALING_CONFIG(PWR_REGULATOR_VOLTAGE_SCALE0);

  while(!__HAL_PWR_GET_FLAG(PWR_FLAG_VOSRDY)) {}

  /** Initializes the RCC Oscillators according to the specified parameters
  * in the RCC_OscInitTypeDef structure.
  */
  RCC_OscInitStruct.OscillatorType = RCC_OSCILLATORTYPE_HSI48|RCC_OSCILLATORTYPE_HSE;
  RCC_OscInitStruct.HSEState = RCC_HSE_ON;
  RCC_OscInitStruct.HSI48State = RCC_HSI48_ON;
  RCC_OscInitStruct.PLL.PLLState = RCC_PLL_ON;
  RCC_OscInitStruct.PLL.PLLSource = RCC_PLLSOURCE_HSE;
  RCC_OscInitStruct.PLL.PLLM = 2;
  RCC_OscInitStruct.PLL.PLLN = 40;
  RCC_OscInitStruct.PLL.PLLP = 1;
  RCC_OscInitStruct.PLL.PLLQ = 4;
  RCC_OscInitStruct.PLL.PLLR = 2;
  RCC_OscInitStruct.PLL.PLLRGE = RCC_PLL1VCIRANGE_3;
  RCC_OscInitStruct.PLL.PLLVCOSEL = RCC_PLL1VCOWIDE;
  RCC_OscInitStruct.PLL.PLLFRACN = 0;
  if (HAL_RCC_OscConfig(&RCC_OscInitStruct) != HAL_OK)
  {
    Error_Handler();
  }

  /** Initializes the CPU, AHB and APB buses clocks
  */
  RCC_ClkInitStruct.ClockType = RCC_CLOCKTYPE_HCLK|RCC_CLOCKTYPE_SYSCLK
                              |RCC_CLOCKTYPE_PCLK1|RCC_CLOCKTYPE_PCLK2
                              |RCC_CLOCKTYPE_D3PCLK1|RCC_CLOCKTYPE_D1PCLK1;
  RCC_ClkInitStruct.SYSCLKSource = RCC_SYSCLKSOURCE_PLLCLK;
  RCC_ClkInitStruct.SYSCLKDivider = RCC_SYSCLK_DIV1;
  RCC_ClkInitStruct.AHBCLKDivider = RCC_HCLK_DIV2;
  RCC_ClkInitStruct.APB3CLKDivider = RCC_APB3_DIV2;
  RCC_ClkInitStruct.APB1CLKDivider = RCC_APB1_DIV2;
  RCC_ClkInitStruct.APB2CLKDivider = RCC_APB2_DIV2;
  RCC_ClkInitStruct.APB4CLKDivider = RCC_APB4_DIV2;

  if (HAL_RCC_ClockConfig(&RCC_ClkInitStruct, FLASH_LATENCY_3) != HAL_OK)
  {
    Error_Handler();
  }
}

void PeriphCommonClock_Config(void)
{
  RCC_PeriphCLKInitTypeDef PeriphClkInitStruct = {0};

  /** Initializes the peripherals clock
  */
  PeriphClkInitStruct.PeriphClockSelection = RCC_PERIPHCLK_SPI6|RCC_PERIPHCLK_ADC;
  PeriphClkInitStruct.PLL2.PLL2M = 12;
  PeriphClkInitStruct.PLL2.PLL2N = 100;
  PeriphClkInitStruct.PLL2.PLL2P = 2;
  PeriphClkInitStruct.PLL2.PLL2Q = 4;
  PeriphClkInitStruct.PLL2.PLL2R = 2;
  PeriphClkInitStruct.PLL2.PLL2RGE = RCC_PLL2VCIRANGE_1;
  PeriphClkInitStruct.PLL2.PLL2VCOSEL = RCC_PLL2VCOWIDE;
  PeriphClkInitStruct.PLL2.PLL2FRACN = 0;
  PeriphClkInitStruct.AdcClockSelection = RCC_ADCCLKSOURCE_PLL2;
  PeriphClkInitStruct.Spi6ClockSelection = RCC_SPI6CLKSOURCE_PLL2;
  if (HAL_RCCEx_PeriphCLKConfig(&PeriphClkInitStruct) != HAL_OK)
  {
    Error_Handler();
  }
}

 /* MPU Configuration */

void MPU_Config(void)
{
  MPU_Region_InitTypeDef MPU_InitStruct = {0};

  /* Disables the MPU */
  HAL_MPU_Disable();

  /** Initializes and configures the Region and the memory to be protected
  */
  MPU_InitStruct.Enable = MPU_REGION_ENABLE;
  MPU_InitStruct.Number = MPU_REGION_NUMBER0;
  MPU_InitStruct.BaseAddress = 0x24000000;
  MPU_InitStruct.Size = MPU_REGION_SIZE_512KB;
  MPU_InitStruct.SubRegionDisable = 0x0;
  MPU_InitStruct.TypeExtField = MPU_TEX_LEVEL0;
  MPU_InitStruct.AccessPermission = MPU_REGION_FULL_ACCESS;
  MPU_InitStruct.DisableExec = MPU_INSTRUCTION_ACCESS_ENABLE;
  MPU_InitStruct.IsShareable = MPU_ACCESS_NOT_SHAREABLE;
  MPU_InitStruct.IsCacheable = MPU_ACCESS_NOT_CACHEABLE;
  MPU_InitStruct.IsBufferable = MPU_ACCESS_NOT_BUFFERABLE;

  HAL_MPU_ConfigRegion(&MPU_InitStruct);
  /* Enables the MPU */
  HAL_MPU_Enable(MPU_PRIVILEGED_DEFAULT);

}

// void HAL_TIM_PeriodElapsedCallback(TIM_HandleTypeDef *htim)
// {
//   /* USER CODE BEGIN Callback 0 */

//   /* USER CODE END Callback 0 */
//   if (htim->Instance == TIM2)
//   {
//     HAL_IncTick();
//   }
//   /* USER CODE BEGIN Callback 1 */

//   /* USER CODE END Callback 1 */
// }

void Error_Handler(void)
{
  __disable_irq();
  while (1)
  {
  }
}

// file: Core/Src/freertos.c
/* USER CODE BEGIN Header */
/**
  ******************************************************************************
  * File Name          : freertos.c
  * Description        : Code for freertos applications
  ******************************************************************************
  * @attention
  *
  * Copyright (c) 2026 STMicroelectronics.
  * All rights reserved.
  *
  * This software is licensed under terms that can be found in the LICENSE file
  * in the root directory of this software component.
  * If no LICENSE file comes with this software, it is provided AS-IS.
  *
  ******************************************************************************
  */
/* USER CODE END Header */

#include "FreeRTOS.h"
#include "task.h"
#include "main.h"
#include "cmsis_os.h"

/* USER CODE BEGIN Includes */
#include "bsp_can.h"

/* USER CODE END Includes */

/* Definitions for TransportTask */
osThreadId_t TransportTaskHandle;
const osThreadAttr_t TransportTask_attributes = {
  .name = "TransportTask",
  .stack_size = 2048 * 4,
  .priority = (osPriority_t) osPriorityNormal,
};
/* Definitions for InsTask */
osThreadId_t InsTaskHandle;
const osThreadAttr_t InsTask_attributes = {
  .name = "InsTask",
  .stack_size = 256 * 4,
  .priority = (osPriority_t) osPriorityLow,
};
/* Definitions for CanTxTask */
osThreadId_t CanTxTaskHandle;
const osThreadAttr_t CanTxTask_attributes = {
  .name = "CanTxTask",
  .stack_size = 1024 * 4,
  .priority = (osPriority_t) osPriorityHigh,
};
/* Definitions for StatusTask */
osThreadId_t StatusTaskHandle;
const osThreadAttr_t StatusTask_attributes = {
  .name = "StatusTask",
  .stack_size = 512 * 4,
  .priority = (osPriority_t) osPriorityLow,
};
/* Definitions for TIM_1ms_Task */
osThreadId_t TIM_1ms_TaskHandle;
const osThreadAttr_t TIM_1ms_Task_attributes = {
  .name = "TIM_1ms_Task",
  .stack_size = 1024 * 4,
  .priority = (osPriority_t) osPriorityLow,
};
/* Definitions for BMI088Task */
osThreadId_t BMI088TaskHandle;
const osThreadAttr_t BMI088Task_attributes = {
  .name = "BMI088Task",
  .stack_size = 2048 * 4,
  .priority = (osPriority_t) osPriorityHigh2,
};
/* Definitions for ControlTask */
osThreadId_t ControlTaskHandle;
const osThreadAttr_t ControlTask_attributes = {
  .name = "ControlTask",
  .stack_size = 2048 * 4,
  .priority = (osPriority_t) osPriorityHigh1,
};
/* Definitions for StorageTask */
osThreadId_t StorageTaskHandle;
const osThreadAttr_t StorageTask_attributes = {
  .name = "StorageTask",
  .stack_size = 1024 * 4,
  .priority = (osPriority_t) osPriorityLow,
};

void Transport_Task(void *argument);
void Ins_Task(void *argument);
void Can_Tx_Task(void *argument);
void Status_Task(void *argument);
void TIM1msTask(void *argument);
void BMI088_Task(void *argument);
void Control_Task(void *argument);
void Storage_Task(void *argument);

extern void MX_USB_DEVICE_Init(void);
void MX_FREERTOS_Init(void); /* (MISRA C 2004 rule 8.1) */

/* Hook prototypes */
void configureTimerForRunTimeStats(void);
unsigned long getRunTimeCounterValue(void);

/* USER CODE BEGIN 1 */
/* Functions needed when configGENERATE_RUN_TIME_STATS is on */
__weak void configureTimerForRunTimeStats(void)
{

}

__weak unsigned long getRunTimeCounterValue(void)
{
return 0;
}
/* USER CODE END 1 */

void MX_FREERTOS_Init(void) {
  /* USER CODE BEGIN Init */
  BSP_CAN_ConfigInit();

  /* USER CODE END Init */

  /* Create the thread(s) */
  /* creation of TransportTask */
  TransportTaskHandle = osThreadNew(Transport_Task, NULL, &TransportTask_attributes);

  /* creation of InsTask */
  InsTaskHandle = osThreadNew(Ins_Task, NULL, &InsTask_attributes);

  /* creation of CanTxTask */
  CanTxTaskHandle = osThreadNew(Can_Tx_Task, NULL, &CanTxTask_attributes);

  /* creation of StatusTask */
  StatusTaskHandle = osThreadNew(Status_Task, NULL, &StatusTask_attributes);

  /* creation of TIM_1ms_Task */
  TIM_1ms_TaskHandle = osThreadNew(TIM1msTask, NULL, &TIM_1ms_Task_attributes);

  /* creation of BMI088Task */
  BMI088TaskHandle = osThreadNew(BMI088_Task, NULL, &BMI088Task_attributes);

  /* creation of ControlTask */
  ControlTaskHandle = osThreadNew(Control_Task, NULL, &ControlTask_attributes);

  /* creation of StorageTask */
  StorageTaskHandle = osThreadNew(Storage_Task, NULL, &StorageTask_attributes);

  /* USER CODE BEGIN RTOS_THREADS */
  if (TransportTaskHandle == NULL || InsTaskHandle == NULL ||
      CanTxTaskHandle == NULL || StatusTaskHandle == NULL ||
      TIM_1ms_TaskHandle == NULL || BMI088TaskHandle == NULL ||
      ControlTaskHandle == NULL || StorageTaskHandle == NULL)
  {
    Error_Handler();
  }
  /* USER CODE END RTOS_THREADS */

}

__weak void Transport_Task(void *argument)
{
  /* init code for USB_DEVICE */
  MX_USB_DEVICE_Init();
  for(;;)
  {
    osDelay(1);
  }
}

__weak void Ins_Task(void *argument)
{
  for(;;)
  {
    osDelay(1);
  }
}

__weak void Can_Tx_Task(void *argument)
{
  for(;;)
  {
    osDelay(1);
  }
}

__weak void Status_Task(void *argument)
{
  for(;;)
  {
    osDelay(1);
  }
}

__weak void TIM1msTask(void *argument)
{
  for(;;)
  {
    osDelay(1);
  }
}

__weak void BMI088_Task(void *argument)
{
  for(;;)
  {
    osDelay(1);
  }
}

__weak void Control_Task(void *argument)
{
  for(;;)
  {
    osDelay(1);
  }
}

__weak void Storage_Task(void *argument)
{
  /* USER CODE BEGIN Storage_Task */
  (void)argument;
  /* Infinite loop */
  for(;;)
  {
    osDelay(1);
  }
  /* USER CODE END Storage_Task */
}

/* USER CODE BEGIN Application */
volatile char *dbg_overflow_task_name = NULL;

void vApplicationStackOverflowHook(TaskHandle_t xTask, char *pcTaskName)
{
  (void)xTask;
  dbg_overflow_task_name = (volatile char *)pcTaskName;
  __asm volatile("bkpt #0");
  for (;;) {}
}
/* USER CODE END Application */
